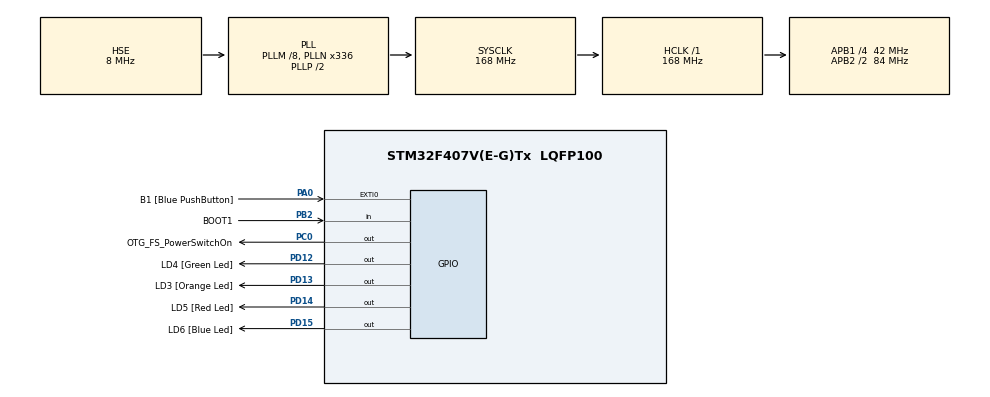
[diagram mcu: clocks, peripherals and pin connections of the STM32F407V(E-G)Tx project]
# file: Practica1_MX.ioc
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Mcu.Family=STM32F4
Mcu.Name=STM32F407V(E-G)Tx
Mcu.Package=LQFP100
NVIC.PriorityGroup=NVIC_PRIORITYGROUP_0
PA0-WKUP.GPIO_Label=B1 [Blue PushButton]
PA0-WKUP.GPIO_ModeDefaultEXTI=GPIO_MODE_EVT_RISING
PA0-WKUP.GPIO_PuPd=GPIO_NOPULL
PA0-WKUP.Signal=GPXTI0
PA13.GPIO_Label=SWDIO
PA13.Mode=Serial_Wire
PA13.Signal=SYS_JTMS-SWDIO
PA14.GPIO_Label=SWCLK
PA14.Mode=Serial_Wire
PA14.Signal=SYS_JTCK-SWCLK
PB2.GPIO_Label=BOOT1
PB2.GPIO_Mode=GPIO_MODE_INPUT
PB2.GPIO_PuPd=GPIO_NOPULL
PB2.Signal=GPIO_Input
PB3.GPIO_Label=SWO
PB3.Signal=SYS_JTDO-SWO
PC0.GPIO_Label=OTG_FS_PowerSwitchOn
PC0.GPIO_PuPd=GPIO_NOPULL
PC0.GPIO_Speed=GPIO_SPEED_FREQ_LOW
PC0.PinState=GPIO_PIN_SET
PC0.Signal=GPIO_Output
PC14-OSC32_IN.GPIO_Label=PC14-OSC32_IN
PC14-OSC32_IN.Mode=LSE-External-Oscillator
PC14-OSC32_IN.Signal=RCC_OSC32_IN
PC15-OSC32_OUT.GPIO_Label=PC15-OSC32_OUT
PC15-OSC32_OUT.Mode=LSE-External-Oscillator
PC15-OSC32_OUT.Signal=RCC_OSC32_OUT
PD12.GPIO_Label=LD4 [Green Led]
PD12.GPIO_PuPd=GPIO_NOPULL
PD12.GPIO_Speed=GPIO_SPEED_FREQ_LOW
PD12.Signal=GPIO_Output
PD13.GPIO_Label=LD3 [Orange Led]
PD13.GPIO_PuPd=GPIO_NOPULL
PD13.GPIO_Speed=GPIO_SPEED_FREQ_LOW
PD13.Signal=GPIO_Output
PD14.GPIO_Label=LD5 [Red Led]
PD14.GPIO_PuPd=GPIO_NOPULL
PD14.GPIO_Speed=GPIO_SPEED_FREQ_LOW
PD14.Signal=GPIO_Output
PD15.GPIO_Label=LD6 [Blue Led]
PD15.GPIO_PuPd=GPIO_NOPULL
PD15.GPIO_Speed=GPIO_SPEED_FREQ_LOW
PD15.Signal=GPIO_Output
PH0-OSC_IN.GPIO_Label=PH0-OSC_IN
PH0-OSC_IN.Mode=HSE-External-Oscillator
PH0-OSC_IN.Signal=RCC_OSC_IN
PH1-OSC_OUT.GPIO_Label=PH1-OSC_OUT
PH1-OSC_OUT.Mode=HSE-External-Oscillator
PH1-OSC_OUT.Signal=RCC_OSC_OUT
ProjectManager.HeapSize=0x200
ProjectManager.StackSize=0x400
ProjectManager.TargetToolchain=STM32CubeIDE
RCC.48MHZClocksFreq_Value=48000000
RCC.AHBFreq_Value=168000000
RCC.APB1CLKDivider=RCC_HCLK_DIV4
RCC.APB1Freq_Value=42000000
RCC.APB1TimFreq_Value=84000000
RCC.APB2CLKDivider=RCC_HCLK_DIV2
RCC.APB2Freq_Value=84000000
RCC.APB2TimFreq_Value=168000000
RCC.CortexFreq_Value=168000000
RCC.HCLKFreq_Value=168000000
RCC.HSE_VALUE=8000000
RCC.HSI_VALUE=16000000
RCC.PLLM=8
RCC.PLLN=336
RCC.PLLQ=7
RCC.PLLSourceVirtual=RCC_PLLSOURCE_HSE
RCC.SYSCLKFreq_VALUE=168000000
RCC.SYSCLKSource=RCC_SYSCLKSOURCE_PLLCLK
RCC.VCOOutputFreq_Value=336000000
board=STM32F407G-DISC1

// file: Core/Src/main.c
/* USER CODE BEGIN Header */
/**
  ******************************************************************************
  * @file           : main.c
  * @brief          : Main program body
  ******************************************************************************
  * @attention
  *
  * Copyright (c) 2026 STMicroelectronics.
  * All rights reserved.
  *
  * This software is licensed under terms that can be found in the LICENSE file
  * in the root directory of this software component.
  * If no LICENSE file comes with this software, it is provided AS-IS.
  *
  ******************************************************************************
  */
/* USER CODE END Header */
#include "main.h"

void SystemClock_Config(void);
static void MX_GPIO_Init(void);

/* USER CODE BEGIN PFP */
void retardo(uint32_t ms);
/* USER CODE END PFP */

int main(void)
{

  /* MCU Configuration--------------------------------------------------------*/

  /* Reset of all peripherals, Initializes the Flash interface and the Systick. */
  HAL_Init();

  /* Configure the system clock */
  SystemClock_Config();

  /* Initialize all configured peripherals */
  MX_GPIO_Init();

  /* Infinite loop */
  /* USER CODE BEGIN WHILE */
  while (1)
  {
	  // Encender

	      HAL_GPIO_WritePin(LD3_GPIO_Port, LD3_Pin, GPIO_PIN_SET);
	      retardo(200);
	      HAL_GPIO_WritePin(LD4_GPIO_Port, LD4_Pin, GPIO_PIN_SET);
	      retardo(200);
	      HAL_GPIO_WritePin(LD6_GPIO_Port, LD6_Pin, GPIO_PIN_SET);
	      retardo(200);
	      HAL_GPIO_WritePin(LD5_GPIO_Port, LD5_Pin, GPIO_PIN_SET);
	      retardo(200);

	      // Apagar
	      HAL_GPIO_WritePin(LD3_GPIO_Port, LD3_Pin, GPIO_PIN_RESET);
	      retardo(200);
	      HAL_GPIO_WritePin(LD4_GPIO_Port, LD4_Pin, GPIO_PIN_RESET);
	      retardo(200);
	      HAL_GPIO_WritePin(LD6_GPIO_Port, LD6_Pin, GPIO_PIN_RESET);
	      retardo(200);
	      HAL_GPIO_WritePin(LD5_GPIO_Port, LD5_Pin, GPIO_PIN_RESET);
	      retardo(200);

    /* USER CODE END WHILE */

  }
}

void SystemClock_Config(void)
{
  RCC_OscInitTypeDef RCC_OscInitStruct = {0};
  RCC_ClkInitTypeDef RCC_ClkInitStruct = {0};

  /** Configure the main internal regulator output voltage
  */
  __HAL_RCC_PWR_CLK_ENABLE();
  __HAL_PWR_VOLTAGESCALING_CONFIG(PWR_REGULATOR_VOLTAGE_SCALE1);

  /** Initializes the RCC Oscillators according to the specified parameters
  * in the RCC_OscInitTypeDef structure.
  */
  RCC_OscInitStruct.OscillatorType = RCC_OSCILLATORTYPE_HSE;
  RCC_OscInitStruct.HSEState = RCC_HSE_ON;
  RCC_OscInitStruct.PLL.PLLState = RCC_PLL_ON;
  RCC_OscInitStruct.PLL.PLLSource = RCC_PLLSOURCE_HSE;
  RCC_OscInitStruct.PLL.PLLM = 8;
  RCC_OscInitStruct.PLL.PLLN = 336;
  RCC_OscInitStruct.PLL.PLLP = RCC_PLLP_DIV2;
  RCC_OscInitStruct.PLL.PLLQ = 7;
  if (HAL_RCC_OscConfig(&RCC_OscInitStruct) != HAL_OK)
  {
    Error_Handler();
  }

  /** Initializes the CPU, AHB and APB buses clocks
  */
  RCC_ClkInitStruct.ClockType = RCC_CLOCKTYPE_HCLK|RCC_CLOCKTYPE_SYSCLK
                              |RCC_CLOCKTYPE_PCLK1|RCC_CLOCKTYPE_PCLK2;
  RCC_ClkInitStruct.SYSCLKSource = RCC_SYSCLKSOURCE_PLLCLK;
  RCC_ClkInitStruct.AHBCLKDivider = RCC_SYSCLK_DIV1;
  RCC_ClkInitStruct.APB1CLKDivider = RCC_HCLK_DIV4;
  RCC_ClkInitStruct.APB2CLKDivider = RCC_HCLK_DIV2;

  if (HAL_RCC_ClockConfig(&RCC_ClkInitStruct, FLASH_LATENCY_5) != HAL_OK)
  {
    Error_Handler();
  }
}

static void MX_GPIO_Init(void)
{
  GPIO_InitTypeDef GPIO_InitStruct = {0};

  /* GPIO Ports Clock Enable */
  __HAL_RCC_GPIOC_CLK_ENABLE();
  __HAL_RCC_GPIOH_CLK_ENABLE();
  __HAL_RCC_GPIOA_CLK_ENABLE();
  __HAL_RCC_GPIOB_CLK_ENABLE();
  __HAL_RCC_GPIOD_CLK_ENABLE();

  /*Configure GPIO pin Output Level */
  HAL_GPIO_WritePin(OTG_FS_PowerSwitchOn_GPIO_Port, OTG_FS_PowerSwitchOn_Pin, GPIO_PIN_SET);

  /*Configure GPIO pin Output Level */
  HAL_GPIO_WritePin(GPIOD, LD4_Pin|LD3_Pin|LD5_Pin|LD6_Pin, GPIO_PIN_RESET);

  /*Configure GPIO pin : OTG_FS_PowerSwitchOn_Pin */
  GPIO_InitStruct.Pin = OTG_FS_PowerSwitchOn_Pin;
  GPIO_InitStruct.Mode = GPIO_MODE_OUTPUT_PP;
  GPIO_InitStruct.Pull = GPIO_NOPULL;
  GPIO_InitStruct.Speed = GPIO_SPEED_FREQ_LOW;
  HAL_GPIO_Init(OTG_FS_PowerSwitchOn_GPIO_Port, &GPIO_InitStruct);

  /*Configure GPIO pin : B1_Pin */
  GPIO_InitStruct.Pin = B1_Pin;
  GPIO_InitStruct.Mode = GPIO_MODE_EVT_RISING;
  GPIO_InitStruct.Pull = GPIO_NOPULL;
  HAL_GPIO_Init(B1_GPIO_Port, &GPIO_InitStruct);

  /*Configure GPIO pin : BOOT1_Pin */
  GPIO_InitStruct.Pin = BOOT1_Pin;
  GPIO_InitStruct.Mode = GPIO_MODE_INPUT;
  GPIO_InitStruct.Pull = GPIO_NOPULL;
  HAL_GPIO_Init(BOOT1_GPIO_Port, &GPIO_InitStruct);

  /*Configure GPIO pins : LD4_Pin LD3_Pin LD5_Pin LD6_Pin */
  GPIO_InitStruct.Pin = LD4_Pin|LD3_Pin|LD5_Pin|LD6_Pin;
  GPIO_InitStruct.Mode = GPIO_MODE_OUTPUT_PP;
  GPIO_InitStruct.Pull = GPIO_NOPULL;
  GPIO_InitStruct.Speed = GPIO_SPEED_FREQ_LOW;
  HAL_GPIO_Init(GPIOD, &GPIO_InitStruct);

}

/* USER CODE BEGIN 4 */
void retardo(uint32_t ms) {
    volatile uint32_t i;
    for (i = 0; i < (5000 * ms); i++) {
        // No hacer nada, solo perder tiempo
    }
}
/* USER CODE END 4 */

void Error_Handler(void)
{
  __disable_irq();
  while (1)
  {
  }
}
